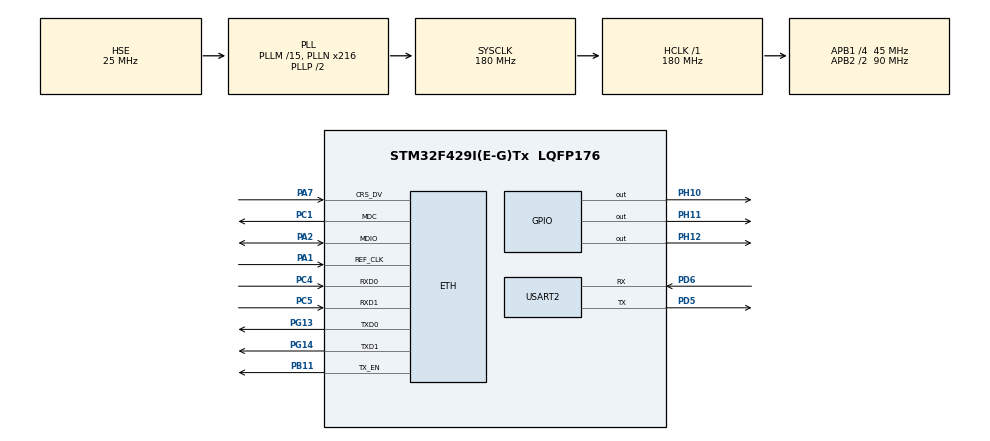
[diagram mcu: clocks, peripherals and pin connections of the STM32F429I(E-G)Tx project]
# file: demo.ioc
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ETH.MediaInterface=ETH_MEDIA_INTERFACE_RMII
ETH.PHY_Name_RMII=userPHY
ETH.PHY_User_Name=LAN8720A
ETH.PhyAddress=0
FREERTOS.Tasks01=defaultTask,0,1024,StartDefaultTask,Default,NULL,Dynamic,NULL,NULL;myTaskLED,-2,218,StartTaskLED,Default,NULL,Dynamic,NULL,NULL
FREERTOS.configTOTAL_HEAP_SIZE=70528
LWIP.GATEWAY_ADDRESS=192.168.001.001
LWIP.IP_ADDRESS=192.168.001.021
LWIP.LWIP_DHCP=0
LWIP.NETMASK_ADDRESS=255.255.255.000
LWIP.Version=v2.0.3_Cube
Mcu.Family=STM32F4
Mcu.Name=STM32F429I(E-G)Tx
Mcu.Package=LQFP176
NVIC.ETH_IRQn=true\:5\:0\:false\:false\:true\:true\:false
NVIC.PriorityGroup=NVIC_PRIORITYGROUP_4
NVIC.TIM1_UP_TIM10_IRQn=true\:0\:0\:false\:false\:true\:false\:false
NVIC.TimeBase=TIM1_UP_TIM10_IRQn
NVIC.TimeBaseIP=TIM10
PA1.Mode=RMII
PA1.Signal=ETH_REF_CLK
PA2.Mode=RMII
PA2.Signal=ETH_MDIO
PA7.Mode=RMII
PA7.Signal=ETH_CRS_DV
PB11.Mode=RMII
PB11.Signal=ETH_TX_EN
PC1.Mode=RMII
PC1.Signal=ETH_MDC
PC4.Mode=RMII
PC4.Signal=ETH_RXD0
PC5.Mode=RMII
PC5.Signal=ETH_RXD1
PD5.Mode=Asynchronous
PD5.Signal=USART2_TX
PD6.Mode=Asynchronous
PD6.Signal=USART2_RX
PG13.Mode=RMII
PG13.Signal=ETH_TXD0
PG14.Mode=RMII
PG14.Signal=ETH_TXD1
PH0/OSC_IN.Mode=HSE-External-Oscillator
PH0/OSC_IN.Signal=RCC_OSC_IN
PH1/OSC_OUT.Mode=HSE-External-Oscillator
PH1/OSC_OUT.Signal=RCC_OSC_OUT
PH10.Signal=GPIO_Output
PH11.Signal=GPIO_Output
PH12.Signal=GPIO_Output
ProjectManager.HeapSize=0x200
ProjectManager.StackSize=0x400
ProjectManager.TargetToolchain=MDK-ARM V5
RCC.48MHZClocksFreq_Value=90000000
RCC.AHBFreq_Value=180000000
RCC.APB1CLKDivider=RCC_HCLK_DIV4
RCC.APB1Freq_Value=45000000
RCC.APB1TimFreq_Value=90000000
RCC.APB2CLKDivider=RCC_HCLK_DIV2
RCC.APB2Freq_Value=90000000
RCC.APB2TimFreq_Value=180000000
RCC.CortexFreq_Value=180000000
RCC.HCLKFreq_Value=180000000
RCC.HSE_VALUE=25000000
RCC.HSI_VALUE=16000000
RCC.LSE_VALUE=32768
RCC.PLLM=15
RCC.PLLN=216
RCC.PLLSourceVirtual=RCC_PLLSOURCE_HSE
RCC.SYSCLKFreq_VALUE=180000000
RCC.SYSCLKSource=RCC_SYSCLKSOURCE_PLLCLK
RCC.VCOOutputFreq_Value=360000000
USART2.VirtualMode=VM_ASYNC
VP_FREERTOS_VS_ENABLE.Mode=Enabled
VP_LWIP_VS_Enabled.Mode=Enabled
VP_SYS_VS_tim10.Mode=TIM10
board=custom

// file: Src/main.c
/* USER CODE BEGIN Header */
/**
  ******************************************************************************
  * @file           : main.c
  * @brief          : Main program body
  ******************************************************************************
  * This notice applies to any and all portions of this file
  * that are not between comment pairs USER CODE BEGIN and
  * USER CODE END. Other portions of this file, whether
  * inserted by the user or by software development tools
  * are owned by their respective copyright owners.
  *
  * Copyright (c) 2019 STMicroelectronics International N.V.
  * All rights reserved.
  *
  * Redistribution and use in source and binary forms, with or without
  * modification, are permitted, provided that the following conditions are met:
  *
  * 1. Redistribution of source code must retain the above copyright notice,
  *    this list of conditions and the following disclaimer.
  * 2. Redistributions in binary form must reproduce the above copyright notice,
  *    this list of conditions and the following disclaimer in the documentation
  *    and/or other materials provided with the distribution.
  * 3. Neither the name of STMicroelectronics nor the names of other
  *    contributors to this software may be used to endorse or promote products
  *    derived from this software without specific written permission.
  * 4. This software, including modifications and/or derivative works of this
  *    software, must execute solely and exclusively on microcontroller or
  *    microprocessor devices manufactured by or for STMicroelectronics.
  * 5. Redistribution and use of this software other than as permitted under
  *    this license is void and will automatically terminate your rights under
  *    this license.
  *
  * THIS SOFTWARE IS PROVIDED BY STMICROELECTRONICS AND CONTRIBUTORS "AS IS"
  * AND ANY EXPRESS, IMPLIED OR STATUTORY WARRANTIES, INCLUDING, BUT NOT
  * LIMITED TO, THE IMPLIED WARRANTIES OF MERCHANTABILITY, FITNESS FOR A
  * PARTICULAR PURPOSE AND NON-INFRINGEMENT OF THIRD PARTY INTELLECTUAL PROPERTY
  * RIGHTS ARE DISCLAIMED TO THE FULLEST EXTENT PERMITTED BY LAW. IN NO EVENT
  * SHALL STMICROELECTRONICS OR CONTRIBUTORS BE LIABLE FOR ANY DIRECT, INDIRECT,
  * INCIDENTAL, SPECIAL, EXEMPLARY, OR CONSEQUENTIAL DAMAGES (INCLUDING, BUT NOT
  * LIMITED TO, PROCUREMENT OF SUBSTITUTE GOODS OR SERVICES; LOSS OF USE, DATA,
  * OR PROFITS; OR BUSINESS INTERRUPTION) HOWEVER CAUSED AND ON ANY THEORY OF
  * LIABILITY, WHETHER IN CONTRACT, STRICT LIABILITY, OR TORT (INCLUDING
  * NEGLIGENCE OR OTHERWISE) ARISING IN ANY WAY OUT OF THE USE OF THIS SOFTWARE,
  * EVEN IF ADVISED OF THE POSSIBILITY OF SUCH DAMAGE.
  *
  ******************************************************************************
  */
/* USER CODE END Header */

#include "main.h"
#include "cmsis_os.h"
#include "lwip.h"

/* USER CODE BEGIN Includes */
#include "lwip/opt.h"
#include "lwip/sys.h"
#include "lwip/api.h"
#include "lwip/sockets.h"
#include "string.h"
/* USER CODE END Includes */

/* USER CODE BEGIN PD */
#define PORT   5001
#define IP_ADDR  "192.168.1.106"
#define RECV_DATA 1024
/* USER CODE END PD */

UART_HandleTypeDef huart2;

osThreadId defaultTaskHandle;
osThreadId myTaskLEDHandle;

void SystemClock_Config(void);
static void MX_GPIO_Init(void);
static void MX_USART2_UART_Init(void);
void StartDefaultTask(void const * argument);
void StartTaskLED(void const * argument);

int main(void)
{

  /* MCU Configuration--------------------------------------------------------*/

  /* Reset of all peripherals, Initializes the Flash interface and the Systick. */
  HAL_Init();

  /* Configure the system clock */
  SystemClock_Config();

  /* Initialize all configured peripherals */
  MX_GPIO_Init();
  MX_USART2_UART_Init();
  /* USER CODE BEGIN 2 */
	printf("cowis system start ...\r\n");
  /* USER CODE END 2 */

  /* Create the thread(s) */
  /* definition and creation of defaultTask */
  osThreadDef(defaultTask, StartDefaultTask, osPriorityNormal, 0, 1024);
  defaultTaskHandle = osThreadCreate(osThread(defaultTask), NULL);

  /* definition and creation of myTaskLED */
  osThreadDef(myTaskLED, StartTaskLED, osPriorityLow, 0, 218);
  myTaskLEDHandle = osThreadCreate(osThread(myTaskLED), NULL);

  /* Start scheduler */
  osKernelStart();

  /* We should never get here as control is now taken by the scheduler */

  /* Infinite loop */
  while (1)
  {

  }
}

void SystemClock_Config(void)
{
  RCC_OscInitTypeDef RCC_OscInitStruct = {0};
  RCC_ClkInitTypeDef RCC_ClkInitStruct = {0};

  /**Configure the main internal regulator output voltage
  */
  __HAL_RCC_PWR_CLK_ENABLE();
  __HAL_PWR_VOLTAGESCALING_CONFIG(PWR_REGULATOR_VOLTAGE_SCALE1);
  /**Initializes the CPU, AHB and APB busses clocks
  */
  RCC_OscInitStruct.OscillatorType = RCC_OSCILLATORTYPE_HSE;
  RCC_OscInitStruct.HSEState = RCC_HSE_ON;
  RCC_OscInitStruct.PLL.PLLState = RCC_PLL_ON;
  RCC_OscInitStruct.PLL.PLLSource = RCC_PLLSOURCE_HSE;
  RCC_OscInitStruct.PLL.PLLM = 15;
  RCC_OscInitStruct.PLL.PLLN = 216;
  RCC_OscInitStruct.PLL.PLLP = RCC_PLLP_DIV2;
  RCC_OscInitStruct.PLL.PLLQ = 4;
  if (HAL_RCC_OscConfig(&RCC_OscInitStruct) != HAL_OK)
  {
    Error_Handler();
  }
  /**Activate the Over-Drive mode
  */
  if (HAL_PWREx_EnableOverDrive() != HAL_OK)
  {
    Error_Handler();
  }
  /**Initializes the CPU, AHB and APB busses clocks
  */
  RCC_ClkInitStruct.ClockType = RCC_CLOCKTYPE_HCLK|RCC_CLOCKTYPE_SYSCLK
                              |RCC_CLOCKTYPE_PCLK1|RCC_CLOCKTYPE_PCLK2;
  RCC_ClkInitStruct.SYSCLKSource = RCC_SYSCLKSOURCE_PLLCLK;
  RCC_ClkInitStruct.AHBCLKDivider = RCC_SYSCLK_DIV1;
  RCC_ClkInitStruct.APB1CLKDivider = RCC_HCLK_DIV4;
  RCC_ClkInitStruct.APB2CLKDivider = RCC_HCLK_DIV2;

  if (HAL_RCC_ClockConfig(&RCC_ClkInitStruct, FLASH_LATENCY_5) != HAL_OK)
  {
    Error_Handler();
  }
}

static void MX_USART2_UART_Init(void)
{

  huart2.Instance = USART2;
  huart2.Init.BaudRate = 115200;
  huart2.Init.WordLength = UART_WORDLENGTH_8B;
  huart2.Init.StopBits = UART_STOPBITS_1;
  huart2.Init.Parity = UART_PARITY_NONE;
  huart2.Init.Mode = UART_MODE_TX_RX;
  huart2.Init.HwFlowCtl = UART_HWCONTROL_NONE;
  huart2.Init.OverSampling = UART_OVERSAMPLING_16;
  if (HAL_UART_Init(&huart2) != HAL_OK)
  {
    Error_Handler();
  }

}

static void MX_GPIO_Init(void)
{
  GPIO_InitTypeDef GPIO_InitStruct = {0};

  /* GPIO Ports Clock Enable */
  __HAL_RCC_GPIOH_CLK_ENABLE();
  __HAL_RCC_GPIOC_CLK_ENABLE();
  __HAL_RCC_GPIOA_CLK_ENABLE();
  __HAL_RCC_GPIOB_CLK_ENABLE();
  __HAL_RCC_GPIOD_CLK_ENABLE();
  __HAL_RCC_GPIOG_CLK_ENABLE();

  /*Configure GPIO pin Output Level */
  HAL_GPIO_WritePin(GPIOH, GPIO_PIN_10|GPIO_PIN_11|GPIO_PIN_12, GPIO_PIN_RESET);

  /*Configure GPIO pins : PH10 PH11 PH12 */
  GPIO_InitStruct.Pin = GPIO_PIN_10|GPIO_PIN_11|GPIO_PIN_12;
  GPIO_InitStruct.Mode = GPIO_MODE_OUTPUT_PP;
  GPIO_InitStruct.Pull = GPIO_NOPULL;
  GPIO_InitStruct.Speed = GPIO_SPEED_FREQ_LOW;
  HAL_GPIO_Init(GPIOH, &GPIO_InitStruct);

}

/* USER CODE BEGIN 4 */

int fputc(int ch, FILE *f)
{
	HAL_UART_Transmit(&huart2, (uint8_t *)&ch, 1, 0xffff);
	return ch;
}

//�ͻ���
void client()
{
		{
			int sock = -1;
			struct sockaddr_in client_addr;
			uint8_t send_buf[] = "This is a TCP client test \r\n";

			while(1)
			{
				sock = socket(AF_INET, SOCK_STREAM, 0);
				if(sock < 0)
				{
					osDelay(10);
					continue;
				}
				client_addr.sin_family = AF_INET;
				client_addr.sin_port = htons(PORT);
				client_addr.sin_addr.s_addr = inet_addr(IP_ADDR);
				memset(&(client_addr.sin_zero), 0, sizeof(client_addr.sin_zero));

				if(connect(sock, (struct sockaddr*)&client_addr, sizeof(struct sockaddr)) == -1)
				{
					printf("connect failed \r\n");
					closesocket(sock);
					osDelay(10);
					continue;
				}
				printf("connect to iperf server successful!\n");

				while(1)
				{
					if(write(sock, send_buf, sizeof(send_buf)) < 0)
						break;
					osDelay(10);
				}
				closesocket(sock);
			}
		}
}

/* USER CODE END 4 */

void StartDefaultTask(void const * argument)
{
  /* init code for LWIP */
  MX_LWIP_Init();

  /* USER CODE BEGIN 5 */
  /* Infinite loop */
	int sock = -1, connected;
	char *recv_data;
	struct sockaddr_in server_addr, client_addr;
	socklen_t sin_size;
	int recv_data_len;

	recv_data = (char *)pvPortMalloc(RECV_DATA);
	if(recv_data == NULL)
	{
		printf("No memory\n");
		goto __exit;
	}

	sock = socket(AF_INET, SOCK_STREAM, 0);
	if(sock < 0)
	{
		printf("socket error\n");
	}
	server_addr.sin_family = AF_INET;
	server_addr.sin_addr.s_addr = INADDR_ANY;
	server_addr.sin_port = htons(PORT);
	memset(&(server_addr.sin_zero), 0, sizeof(server_addr.sin_zero));

	if(bind(sock, (struct sockaddr *)&server_addr, sizeof(struct sockaddr)) == -1)
	{
		printf("unable to bind\n");
		goto __exit;
	}

	listen(sock, 5);

	while(1)
	{
		sin_size = sizeof(struct sockaddr_in);
		connected = accept(sock, (struct sockaddr *)&client_addr, &sin_size);
		printf("new client connected from %s, %d\r\n", inet_ntoa(client_addr.sin_addr), ntohs(client_addr.sin_port));
		{
			int flag = 1;
			setsockopt(connected, IPPROTO_TCP, TCP_NODELAY, (void *)&flag, sizeof(int));
		}
		while(1)
		{
			recv_data_len = recv(connected, recv_data, RECV_DATA, 0);

			if(recv_data_len <= 0)
				break;
			printf("recv %d len data\r\n", recv_data_len);
			write(connected, recv_data, recv_data_len);
		}
		if(connected >= 0)
			closesocket(connected);
		connected = -1;
	}

__exit:
	if(recv_data) free(recv_data);
	if(sock >= 0)  closesocket(sock);

	vTaskDelete(defaultTaskHandle);

  /* USER CODE END 5 */
}

void StartTaskLED(void const * argument)
{
  /* USER CODE BEGIN StartTaskLED */
  /* Infinite loop */
  for(;;)
  {
		printf("1 \r\n");
		HAL_GPIO_WritePin(GPIOH, GPIO_PIN_10, GPIO_PIN_RESET);
		HAL_GPIO_WritePin(GPIOH, GPIO_PIN_11, GPIO_PIN_SET);
		HAL_GPIO_WritePin(GPIOH, GPIO_PIN_12, GPIO_PIN_SET);
    osDelay(1000);
		HAL_GPIO_WritePin(GPIOH, GPIO_PIN_10, GPIO_PIN_SET);
		HAL_GPIO_WritePin(GPIOH, GPIO_PIN_11, GPIO_PIN_RESET);
		HAL_GPIO_WritePin(GPIOH, GPIO_PIN_12, GPIO_PIN_SET);
		printf("2 \r\n");
		osDelay(1000);
		HAL_GPIO_WritePin(GPIOH, GPIO_PIN_10, GPIO_PIN_SET);
		HAL_GPIO_WritePin(GPIOH, GPIO_PIN_11, GPIO_PIN_SET);
		HAL_GPIO_WritePin(GPIOH, GPIO_PIN_12, GPIO_PIN_RESET);
		printf("%f \r\n", 3.0);
    osDelay(1000);
	}
  /* USER CODE END StartTaskLED */
}

void HAL_TIM_PeriodElapsedCallback(TIM_HandleTypeDef *htim)
{
  if (htim->Instance == TIM10) {
    HAL_IncTick();
  }
}

void Error_Handler(void)
{
}

/************************ (C) COPYRIGHT STMicroelectronics *****END OF FILE****/
